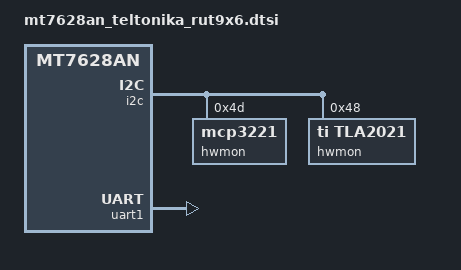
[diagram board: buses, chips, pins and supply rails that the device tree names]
// SPDX-License-Identifier: GPL-2.0-or-later OR MIT

#include "mt7628an_teltonika_rut9xx.dtsi"

/ {
	gpio-export {
		gpio_dcd {
			gpio-export,name = "dcd";
			gpio-export,output = <0>;
			gpios = <&gpio_hc595 14 GPIO_ACTIVE_HIGH>;
		};

		gpio_din2 {
			gpio-export,name = "digital_input2";
			gpio-export,input = <0>;
			gpios = <&gpio 37 GPIO_ACTIVE_LOW>;
		};

		gpio_output2 {
			gpio-export,name = "digital_output2";
			gpio-export,output = <0>;
			gpios = <&gpio_hc595 8 GPIO_ACTIVE_HIGH>;
		};

		gpio_adcin {
			gpio-export,name = "adc_input";
			gpio-export,input = <0>;
			gpios = <&gpio 37 GPIO_ACTIVE_LOW>;
		};

		gpio_relay {
			gpio-export,name = "relay";
			gpio-export,output = <0>;
			gpios = <&gpio_hc595 9 GPIO_ACTIVE_HIGH>;
		};

		gpio_rs485_rx_en {
			gpio-export,name = "rs485_rx_enable";
			gpio-export,output = <0>;
			gpios = <&gpio_hc595 13 GPIO_ACTIVE_HIGH>;
		};

		gpio_rs485_tx_en {
			gpio-export,name = "rs485_tx_enable";
			gpio-export,output = <0>;
			gpios = <&gpio 44 GPIO_ACTIVE_HIGH>;
		};

		gpio_isolated_input {
			gpio-export,name = "isolated_input";
			gpio-export,input = <0>;
			gpios = <&gpio 11 GPIO_ACTIVE_LOW>;
		};
	};
};

&i2c {
	status = "okay";
	hwmon@4d {
		compatible = "mcp3221";
		reg = <0x4d>;
		reference-voltage-microvolt = <3300000>;
	};

	hwmon@48 {
		compatible = "ti,tla2021";
		reg = <0x48>;
	};
};

&uart1 {
	linux,rs485-enabled-at-boot-time;
	rs485-rts-delay = <0 0>;
	rs485-rx-during-tx;
	status = "okay";
};
